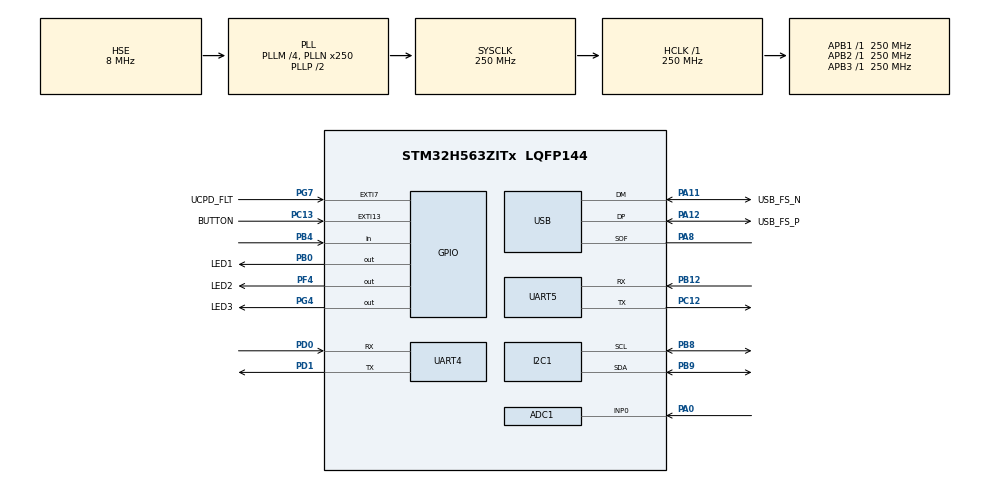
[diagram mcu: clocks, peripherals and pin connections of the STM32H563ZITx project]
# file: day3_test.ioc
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ADC1.Channel-1\#ChannelRegularConversion=ADC_CHANNEL_0
ADC1.MonitoredBy-1\#ChannelRegularConversion=__NULL
ADC1.NbrOfConversionFlag=1
ADC1.OffsetNumber-1\#ChannelRegularConversion=ADC_OFFSET_NONE
ADC1.Rank-1\#ChannelRegularConversion=1
ADC1.SamplingTime-1\#ChannelRegularConversion=ADC_SAMPLETIME_2CYCLES_5
ADC1.master=1
BOOTPATH.BootPathName=LEGACY
BOOTPATH.UserSelectedBootPath=LEGACY
CORTEX_M33_NS.userName=CORTEX_M33
I2C1.Timing=0x60808CD3
Mcu.Family=STM32H5
Mcu.Name=STM32H563ZITx
Mcu.Package=LQFP144
NVIC.ADC1_IRQn=true\:0\:0\:false\:false\:true\:true\:true\:true
NVIC.EXTI13_IRQn=true\:3\:0\:true\:false\:true\:true\:true\:true
NVIC.EXTI7_IRQn=true\:0\:0\:false\:false\:true\:true\:true\:true
NVIC.I2C1_ER_IRQn=true\:0\:0\:false\:false\:true\:true\:true\:true
NVIC.I2C1_EV_IRQn=true\:0\:0\:false\:false\:true\:true\:true\:true
NVIC.PriorityGroup=NVIC_PRIORITYGROUP_4
NVIC.TIM6_IRQn=true\:0\:0\:false\:false\:true\:true\:true\:true
NVIC.TIM7_IRQn=true\:0\:0\:false\:false\:true\:true\:true\:true
NVIC.UART4_IRQn=true\:0\:0\:false\:false\:true\:true\:true\:true
NVIC.UART5_IRQn=true\:0\:0\:false\:false\:true\:true\:true\:true
PA0.Signal=ADCx_INP0
PA1.GPIO_Label=RMII_REF_CLK
PA1.GPIO_Mode=GPIO_MODE_AF_PP
PA1.GPIO_PuPd=GPIO_NOPULL
PA1.GPIO_Speed=GPIO_SPEED_FREQ_LOW
PA1.Signal=ETH_REF_CLK
PA11.GPIO_Label=USB_FS_N
PA11.Mode=Device
PA11.Signal=USB_DM
PA12.GPIO_Label=USB_FS_P
PA12.Mode=Device
PA12.Signal=USB_DP
PA13(JTMS/SWDIO).GPIO_Label=SWDIO
PA13(JTMS/SWDIO).Signal=DEBUG_JTMS-SWDIO
PA14(JTCK/SWCLK).GPIO_Label=SWCLK
PA14(JTCK/SWCLK).Signal=DEBUG_JTCK-SWCLK
PA15(JTDI).GPIO_Label=T_JTDI
PA15(JTDI).Signal=DEBUG_JTDI
PA2.GPIO_Label=RMII_MDIO
PA2.GPIO_Mode=GPIO_MODE_AF_PP
PA2.GPIO_PuPd=GPIO_NOPULL
PA2.GPIO_Speed=GPIO_SPEED_FREQ_LOW
PA2.Signal=ETH_MDIO
PA4.GPIO_Label=VBUS_SENSE
PA4.Signal=ADCx_INP18
PA7.GPIO_Label=RMII_CRS_DV
PA7.GPIO_Mode=GPIO_MODE_AF_PP
PA7.GPIO_PuPd=GPIO_NOPULL
PA7.GPIO_Speed=GPIO_SPEED_FREQ_LOW
PA7.Signal=ETH_CRS_DV
PA8.Mode=Activate_SOF_FS
PA8.Signal=USB_SOF
PA9.GPIO_Label=UCDP_DBn
PA9.Signal=UCPD1_DB1
PB0.GPIO_Label=LED1
PB0.Signal=GPIO_Output
PB12.Mode=Asynchronous
PB12.Signal=UART5_RX
PB13.GPIO_Label=UCPD_CC1
PB13.Signal=UCPD1_CC1
PB14.GPIO_Label=UCPD_CC2
PB14.Signal=UCPD1_CC2
PB15.GPIO_Label=RMII_TXD1
PB15.GPIO_Mode=GPIO_MODE_AF_PP
PB15.GPIO_PuPd=GPIO_NOPULL
PB15.GPIO_Speed=GPIO_SPEED_FREQ_LOW
PB15.Signal=ETH_TXD1
PB3(JTDO/TRACESWO).GPIO_Label=SWO
PB3(JTDO/TRACESWO).Signal=DEBUG_JTDO-SWO
PB4(NJTRST).Signal=GPIO_Input
PB6.GPIO_Label=ARD_D1_TX
PB6.Signal=LPUART1_TX
PB7.GPIO_Label=ARD_D0_RX
PB7.Signal=LPUART1_RX
PB8.Mode=I2C
PB8.Signal=I2C1_SCL
PB9.Mode=I2C
PB9.Signal=I2C1_SDA
PC1.GPIO_Label=RMII_MDC
PC1.GPIO_Mode=GPIO_MODE_AF_PP
PC1.GPIO_PuPd=GPIO_NOPULL
PC1.GPIO_Speed=GPIO_SPEED_FREQ_LOW
PC1.Signal=ETH_MDC
PC12.Mode=Asynchronous
PC12.Signal=UART5_TX
PC13.GPIO_Label=BUTTON
PC13.GPIO_PuPd=GPIO_PULLDOWN
PC13.Signal=GPXTI13
PC14-OSC32_IN(OSC32_IN).Mode=LSE-External-Oscillator
PC14-OSC32_IN(OSC32_IN).Signal=RCC_OSC32_IN
PC15-OSC32_OUT(OSC32_OUT).Mode=LSE-External-Oscillator
PC15-OSC32_OUT(OSC32_OUT).Signal=RCC_OSC32_OUT
PC4.GPIO_Label=RMII_RXD0
PC4.GPIO_Mode=GPIO_MODE_AF_PP
PC4.GPIO_PuPd=GPIO_NOPULL
PC4.GPIO_Speed=GPIO_SPEED_FREQ_LOW
PC4.Signal=ETH_RXD0
PC5.GPIO_Label=RMII_RXD1
PC5.GPIO_Mode=GPIO_MODE_AF_PP
PC5.GPIO_PuPd=GPIO_NOPULL
PC5.GPIO_Speed=GPIO_SPEED_FREQ_LOW
PC5.Signal=ETH_RXD1
PD0.Mode=Asynchronous
PD0.Signal=UART4_RX
PD1.Mode=Asynchronous
PD1.Signal=UART4_TX
PE2.GPIO_Label=TRACE_CK
PE2.Signal=DEBUG_TRACECLK
PE3.GPIO_Label=TRACE_D0
PE3.Signal=DEBUG_TRACED0
PE4.GPIO_Label=TRACE_D1
PE4.Signal=DEBUG_TRACED1
PE5.GPIO_Label=TRACE_D2
PE5.Signal=DEBUG_TRACED2
PE6.GPIO_Label=TRACE_D3
PE6.Signal=DEBUG_TRACED3
PF4.GPIO_Label=LED2
PF4.Signal=GPIO_Output
PG11.GPIO_Label=RMII_TXT_EN
PG11.GPIO_Mode=GPIO_MODE_AF_PP
PG11.GPIO_PuPd=GPIO_NOPULL
PG11.GPIO_Speed=GPIO_SPEED_FREQ_LOW
PG11.Signal=ETH_TX_EN
PG13.GPIO_Label=RMI_TXD0
PG13.GPIO_Mode=GPIO_MODE_AF_PP
PG13.GPIO_PuPd=GPIO_NOPULL
PG13.GPIO_Speed=GPIO_SPEED_FREQ_LOW
PG13.Signal=ETH_TXD0
PG4.GPIO_Label=LED3
PG4.Signal=GPIO_Output
PG7.GPIO_Label=UCPD_FLT
PG7.Signal=GPXTI7
PH0-OSC_IN(PH0).GPIO_Label=STLK_MCO
PH0-OSC_IN(PH0).Mode=HSE-External-Clock-Source
PH0-OSC_IN(PH0).Signal=RCC_OSC_IN
ProjectManager.HeapSize=0x200
ProjectManager.StackSize=0x400
ProjectManager.TargetToolchain=STM32CubeIDE
RCC.ADCFreq_Value=250000000
RCC.AHBFreq_Value=250000000
RCC.APB1Freq_Value=250000000
RCC.APB1TimFreq_Value=250000000
RCC.APB2Freq_Value=250000000
RCC.APB2TimFreq_Value=250000000
RCC.APB3Freq_Value=250000000
RCC.CSI_VALUE=4000000
RCC.CortexFreq_Value=250000000
RCC.EPOD_VALUE=8000000
RCC.HCLKFreq_Value=250000000
RCC.HSE_VALUE=8000000
RCC.HSI48_VALUE=48000000
RCC.HSIDiv=RCC_HSI_DIV1
RCC.HSI_VALUE=64000000
RCC.LSIRC_VALUE=32000
RCC.PLLM=4
RCC.PLLN=250
RCC.PLLSourceVirtual=RCC_PLL1_SOURCE_HSE
RCC.SYSCLKFreq_VALUE=250000000
RCC.SYSCLKSource=RCC_SYSCLKSOURCE_PLLCLK
RCC.USBFreq_Value=48000000
RCC.VCOOutputFreq_Value=500000000
SH.ADCx_INP0.0=ADC1_INP0,IN0-Single-Ended
SH.ADCx_INP18.0=ADC1_INP18
USB.VirtualMode=Device_Only
VP_BOOTPATH_VS_BOOTPATH.Mode=BP_Activate
VP_CORTEX_M33_NS_VS_Hclk.Mode=Hclk_Mode
VP_GPDMA1_VS_GPDMACH0.Mode=SIMPLEREQUEST_GPDMACH0
VP_GPDMA1_VS_GPDMACH1.Mode=LINKEDLIST_GPDMACH1
VP_MEMORYMAP_VS_MEMORYMAP.Mode=CurAppReg
VP_PWR_VS_DBSignals.Mode=DisableDeadBatterySignals
VP_PWR_VS_LPOM.Mode=PowerOptimisation
VP_PWR_VS_SECSignals.Mode=Security/Privilege
VP_TIM6_VS_ClockSourceINT.Mode=Enable_Timer
VP_TIM7_VS_ClockSourceINT.Mode=Enable_Timer
board=NUCLEO-H563ZI

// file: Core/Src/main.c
/* USER CODE BEGIN Header */
/**
  ******************************************************************************
  * @file           : main.c
  * @brief          : Main program body
  ******************************************************************************
  * @attention
  *
  * Copyright (c) 2024 STMicroelectronics.
  * All rights reserved.
  *
  * This software is licensed under terms that can be found in the LICENSE file
  * in the root directory of this software component.
  * If no LICENSE file comes with this software, it is provided AS-IS.
  *
  ******************************************************************************
  */
/* USER CODE END Header */
#include "main.h"
#include "adc.h"
#include "gpdma.h"
#include "i2c.h"
#include "memorymap.h"
#include "tim.h"
#include "usart.h"
#include "usb.h"
#include "gpio.h"

/* USER CODE BEGIN Includes */
#include <stdio.h>
#include <string.h>
#include <stdarg.h>
#include <stdlib.h>
#include <stdint.h>
#include <ctype.h>

// Module includes
#include "shell_terminal.h"
#include "display_module.h"
#include "led_timer.h"
#include "system_config.h"
#include "hdc1080.h"
#include "adxl345.h"
#include "sensors_monitor.h"
/* USER CODE END Includes */

void SystemClock_Config(void);

int main(void)
{

  /* MCU Configuration--------------------------------------------------------*/

  /* Reset of all peripherals, Initializes the Flash interface and the Systick. */
  HAL_Init();

  /* Configure the system clock */
  SystemClock_Config();

  /* Initialize all configured peripherals */
  MX_GPIO_Init();
  MX_GPDMA1_Init();
  MX_USB_PCD_Init();
  MX_UART5_Init();
  MX_UART4_Init();
  MX_TIM7_Init();
  MX_TIM6_Init();
  MX_ADC1_Init();
  MX_I2C1_Init();
  /* USER CODE BEGIN 2 */

  // Initialize LEDs to off state
  LED_Control(0);
  HAL_Delay(500);

  // Start timers
  HAL_TIM_Base_Start_IT(&htim6);

  // Initialize all system modules
  System_Init();

  /* USER CODE END 2 */

  /* Infinite loop */
  while (1)
  {

    /* USER CODE BEGIN 3 */
    // Main system processing
    System_Process();

    // Small delay to prevent overwhelming the system
    HAL_Delay(1);
  }
  /* USER CODE END 3 */
}

void SystemClock_Config(void)
{
  RCC_OscInitTypeDef RCC_OscInitStruct = {0};
  RCC_ClkInitTypeDef RCC_ClkInitStruct = {0};

  /** Configure the main internal regulator output voltage
  */
  __HAL_PWR_VOLTAGESCALING_CONFIG(PWR_REGULATOR_VOLTAGE_SCALE0);

  while(!__HAL_PWR_GET_FLAG(PWR_FLAG_VOSRDY)) {}

  /** Initializes the RCC Oscillators according to the specified parameters
  * in the RCC_OscInitTypeDef structure.
  */
  RCC_OscInitStruct.OscillatorType = RCC_OSCILLATORTYPE_HSI48|RCC_OSCILLATORTYPE_HSE;
  RCC_OscInitStruct.HSEState = RCC_HSE_BYPASS;
  RCC_OscInitStruct.HSI48State = RCC_HSI48_ON;
  RCC_OscInitStruct.PLL.PLLState = RCC_PLL_ON;
  RCC_OscInitStruct.PLL.PLLSource = RCC_PLL1_SOURCE_HSE;
  RCC_OscInitStruct.PLL.PLLM = 4;
  RCC_OscInitStruct.PLL.PLLN = 250;
  RCC_OscInitStruct.PLL.PLLP = 2;
  RCC_OscInitStruct.PLL.PLLQ = 2;
  RCC_OscInitStruct.PLL.PLLR = 2;
  RCC_OscInitStruct.PLL.PLLRGE = RCC_PLL1_VCIRANGE_1;
  RCC_OscInitStruct.PLL.PLLVCOSEL = RCC_PLL1_VCORANGE_WIDE;
  RCC_OscInitStruct.PLL.PLLFRACN = 0;
  if (HAL_RCC_OscConfig(&RCC_OscInitStruct) != HAL_OK)
  {
    Error_Handler();
  }

  /** Initializes the CPU, AHB and APB buses clocks
  */
  RCC_ClkInitStruct.ClockType = RCC_CLOCKTYPE_HCLK|RCC_CLOCKTYPE_SYSCLK
                              |RCC_CLOCKTYPE_PCLK1|RCC_CLOCKTYPE_PCLK2
                              |RCC_CLOCKTYPE_PCLK3;
  RCC_ClkInitStruct.SYSCLKSource = RCC_SYSCLKSOURCE_PLLCLK;
  RCC_ClkInitStruct.AHBCLKDivider = RCC_SYSCLK_DIV1;
  RCC_ClkInitStruct.APB1CLKDivider = RCC_HCLK_DIV1;
  RCC_ClkInitStruct.APB2CLKDivider = RCC_HCLK_DIV1;
  RCC_ClkInitStruct.APB3CLKDivider = RCC_HCLK_DIV1;

  if (HAL_RCC_ClockConfig(&RCC_ClkInitStruct, FLASH_LATENCY_5) != HAL_OK)
  {
    Error_Handler();
  }

  /** Configure the programming delay
  */
  __HAL_FLASH_SET_PROGRAM_DELAY(FLASH_PROGRAMMING_DELAY_2);
}

void Error_Handler(void)
{
  __disable_irq();
  while (1)
  {
  }
}
